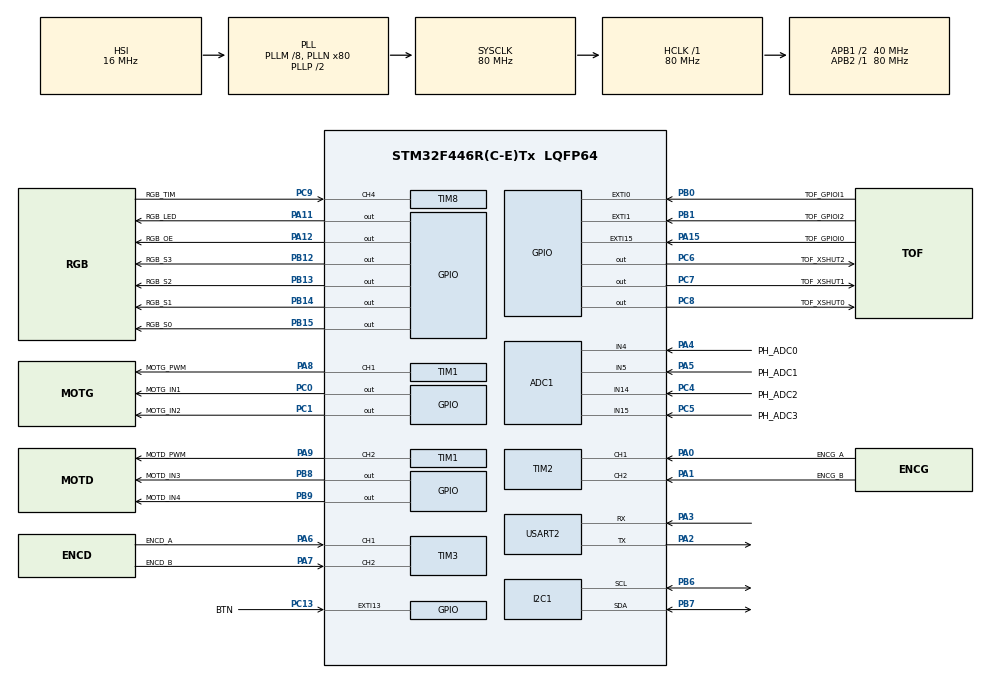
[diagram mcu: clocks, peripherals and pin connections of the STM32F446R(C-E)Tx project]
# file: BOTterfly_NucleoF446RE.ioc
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ADC1.Channel-0\#ChannelRegularConversion=ADC_CHANNEL_4
ADC1.Channel-1\#ChannelRegularConversion=ADC_CHANNEL_5
ADC1.Channel-2\#ChannelRegularConversion=ADC_CHANNEL_14
ADC1.Channel-3\#ChannelRegularConversion=ADC_CHANNEL_15
ADC1.ContinuousConvMode=ENABLE
ADC1.NbrOfConversion=4
ADC1.NbrOfConversionFlag=1
ADC1.Rank-0\#ChannelRegularConversion=1
ADC1.Rank-1\#ChannelRegularConversion=2
ADC1.Rank-2\#ChannelRegularConversion=3
ADC1.Rank-3\#ChannelRegularConversion=4
ADC1.SamplingTime-0\#ChannelRegularConversion=ADC_SAMPLETIME_3CYCLES
ADC1.SamplingTime-1\#ChannelRegularConversion=ADC_SAMPLETIME_3CYCLES
ADC1.SamplingTime-2\#ChannelRegularConversion=ADC_SAMPLETIME_3CYCLES
ADC1.SamplingTime-3\#ChannelRegularConversion=ADC_SAMPLETIME_3CYCLES
ADC1.ScanConvMode=ENABLE
ADC1.master=1
Dma.ADC1.0.Direction=DMA_PERIPH_TO_MEMORY
Dma.ADC1.0.FIFOMode=DMA_FIFOMODE_DISABLE
Dma.ADC1.0.Instance=DMA2_Stream0
Dma.ADC1.0.MemDataAlignment=DMA_MDATAALIGN_WORD
Dma.ADC1.0.MemInc=DMA_MINC_ENABLE
Dma.ADC1.0.Mode=DMA_CIRCULAR
Dma.ADC1.0.PeriphDataAlignment=DMA_PDATAALIGN_WORD
Dma.ADC1.0.PeriphInc=DMA_PINC_DISABLE
Dma.ADC1.0.Priority=DMA_PRIORITY_LOW
Dma.Request0=ADC1
FREERTOS.INCLUDE_uxTaskGetStackHighWaterMark=1
FREERTOS.Tasks01=defaultTask,0,128,StartDefaultTask,Default,NULL,Dynamic,NULL,NULL
FREERTOS.configUSE_NEWLIB_REENTRANT=1
I2C1.I2C_Mode=I2C_Fast
Mcu.Family=STM32F4
Mcu.Name=STM32F446R(C-E)Tx
Mcu.Package=LQFP64
NVIC.DMA2_Stream0_IRQn=true\:5\:0\:false\:false\:true\:true\:false\:true
NVIC.EXTI0_IRQn=true\:5\:0\:false\:false\:true\:true\:true\:true
NVIC.EXTI15_10_IRQn=true\:5\:0\:false\:false\:true\:true\:true\:true
NVIC.EXTI1_IRQn=true\:5\:0\:false\:false\:true\:true\:true\:true
NVIC.PriorityGroup=NVIC_PRIORITYGROUP_4
NVIC.TIM6_DAC_IRQn=true\:15\:0\:false\:false\:true\:false\:false\:true
NVIC.TIM8_CC_IRQn=true\:5\:0\:false\:false\:true\:true\:true\:true
NVIC.TimeBase=TIM6_DAC_IRQn
NVIC.TimeBaseIP=TIM6
NVIC.USART2_IRQn=true\:5\:0\:false\:false\:true\:true\:true\:true
PA0-WKUP.GPIO_Label=ENCG_A
PA0-WKUP.Signal=S_TIM2_CH1_ETR
PA1.GPIO_Label=ENCG_B
PA1.Signal=S_TIM2_CH2
PA11.GPIO_Label=RGB_LED
PA11.Signal=GPIO_Output
PA12.GPIO_Label=RGB_OE
PA12.Signal=GPIO_Output
PA13.Mode=Serial_Wire
PA13.Signal=SYS_JTMS-SWDIO
PA14.Mode=Serial_Wire
PA14.Signal=SYS_JTCK-SWCLK
PA15.GPIO_Label=TOF_GPIOI0
PA15.Signal=GPXTI15
PA2.Mode=Asynchronous
PA2.Signal=USART2_TX
PA3.Mode=Asynchronous
PA3.Signal=USART2_RX
PA4.GPIO_Label=PH_ADC0
PA4.Signal=ADCx_IN4
PA5.GPIO_Label=PH_ADC1
PA5.Signal=ADCx_IN5
PA6.GPIO_Label=ENCD_A
PA6.Signal=S_TIM3_CH1
PA7.GPIO_Label=ENCD_B
PA7.Signal=S_TIM3_CH2
PA8.GPIO_Label=MOTG_PWM
PA8.Signal=S_TIM1_CH1
PA9.GPIO_Label=MOTD_PWM
PA9.Signal=S_TIM1_CH2
PB0.GPIO_Label=TOF_GPIOI1
PB0.Signal=GPXTI0
PB1.GPIO_Label=TOF_GPIOI2
PB1.Signal=GPXTI1
PB12.GPIO_Label=RGB_S3
PB12.Signal=GPIO_Output
PB13.GPIO_Label=RGB_S2
PB13.Signal=GPIO_Output
PB14.GPIO_Label=RGB_S1
PB14.Signal=GPIO_Output
PB15.GPIO_Label=RGB_S0
PB15.Signal=GPIO_Output
PB6.Mode=I2C
PB6.Signal=I2C1_SCL
PB7.Mode=I2C
PB7.Signal=I2C1_SDA
PB8.GPIO_Label=MOTD_IN3
PB8.Signal=GPIO_Output
PB9.GPIO_Label=MOTD_IN4
PB9.Signal=GPIO_Output
PC0.GPIO_Label=MOTG_IN1
PC0.Signal=GPIO_Output
PC1.GPIO_Label=MOTG_IN2
PC1.Signal=GPIO_Output
PC13.GPIO_Label=BTN
PC13.Signal=GPXTI13
PC4.GPIO_Label=PH_ADC2
PC4.Signal=ADCx_IN14
PC5.GPIO_Label=PH_ADC3
PC5.Signal=ADCx_IN15
PC6.GPIO_Label=TOF_XSHUT2
PC6.Signal=GPIO_Output
PC7.GPIO_Label=TOF_XSHUT1
PC7.Signal=GPIO_Output
PC8.GPIO_Label=TOF_XSHUT0
PC8.Signal=GPIO_Output
PC9.GPIO_Label=RGB_TIM
PC9.Signal=S_TIM8_CH4
PH0-OSC_IN.Mode=HSE-External-Oscillator
PH0-OSC_IN.Signal=RCC_OSC_IN
PH1-OSC_OUT.Mode=HSE-External-Oscillator
PH1-OSC_OUT.Signal=RCC_OSC_OUT
ProjectManager.HeapSize=0x200
ProjectManager.StackSize=0x400
ProjectManager.TargetToolchain=STM32CubeIDE
RCC.48MHZClocksFreq_Value=84000000
RCC.AHBFreq_Value=80000000
RCC.APB1CLKDivider=RCC_HCLK_DIV2
RCC.APB1Freq_Value=40000000
RCC.APB1TimFreq_Value=80000000
RCC.APB2Freq_Value=80000000
RCC.APB2TimFreq_Value=80000000
RCC.CortexFreq_Value=80000000
RCC.FLatency-AdvancedSettings=FLASH_LATENCY_2
RCC.HCLKFreq_Value=80000000
RCC.HSE_VALUE=8000000
RCC.HSI_VALUE=16000000
RCC.PLLM=8
RCC.PLLN=80
RCC.SYSCLKFreq_VALUE=80000000
RCC.SYSCLKSource=RCC_SYSCLKSOURCE_PLLCLK
RCC.USBFreq_Value=80000000
RCC.VCOOutputFreq_Value=160000000
SH.ADCx_IN14.0=ADC1_IN14,IN14
SH.ADCx_IN15.0=ADC1_IN15,IN15
SH.ADCx_IN4.0=ADC1_IN4,IN4
SH.ADCx_IN5.0=ADC1_IN5,IN5
SH.S_TIM1_CH1.0=TIM1_CH1,PWM Generation1 CH1
SH.S_TIM1_CH2.0=TIM1_CH2,PWM Generation2 CH2
SH.S_TIM2_CH1_ETR.0=TIM2_CH1,Encoder_Interface
SH.S_TIM2_CH2.0=TIM2_CH2,Encoder_Interface
SH.S_TIM3_CH1.0=TIM3_CH1,Encoder_Interface
SH.S_TIM3_CH2.0=TIM3_CH2,Encoder_Interface
SH.S_TIM8_CH4.0=TIM8_CH4,Input_Capture4_from_TI4
TIM1.Channel-PWM\ Generation1\ CH1=TIM_CHANNEL_1
TIM1.Channel-PWM\ Generation2\ CH2=TIM_CHANNEL_2
TIM1.Period=3360-1
TIM2.EncoderMode=TIM_ENCODERMODE_TI12
TIM3.EncoderMode=TIM_ENCODERMODE_TI12
TIM8.Channel-Input_Capture4_from_TI4=TIM_CHANNEL_4
TIM8.Prescaler=80-1
USART2.VirtualMode=VM_ASYNC
VP_FREERTOS_VS_CMSIS_V1.Mode=CMSIS_V1
VP_SYS_VS_tim6.Mode=TIM6
VP_TIM1_VS_ClockSourceINT.Mode=Internal
board=NUCLEO-F446RE

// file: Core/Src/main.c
/* USER CODE BEGIN Header */
/**
 ******************************************************************************
 * @file           : main.c
 * @brief          : Main program body
 ******************************************************************************
 * @attention
 *
 * <h2><center>&copy; Copyright (c) 2021 STMicroelectronics.
 * All rights reserved.</center></h2>
 *
 * This software component is licensed by ST under BSD 3-Clause license,
 * the "License"; You may not use this file except in compliance with the
 * License. You may obtain a copy of the License at:
 *                        opensource.org/licenses/BSD-3-Clause
 *
 ******************************************************************************
 */
/* USER CODE END Header */
#include "main.h"
#include "cmsis_os.h"
#include "adc.h"
#include "dma.h"
#include "i2c.h"
#include "tim.h"
#include "usart.h"
#include "gpio.h"

/* USER CODE BEGIN Includes */
#include <stdio.h>
#include <math.h>
#include <BOTterfly-H/config.h>
#include <BOTterfly-H/direction.h>

/* USER CODE END Includes */

/* USER CODE BEGIN PD */
#define SYNC_STACK_SIZE 250
#define CMD_STACK_SIZE 500
#define TOF_STACK_SIZE 1000
#define Ph_STACK_SIZE 500
#define RGB_STACK_SIZE 80
/* USER CODE END PD */

/* USER CODE BEGIN PV */

// TO CALCULATE THE STACK SIZE
UBaseType_t uxHighWaterMark_RGB_1;
UBaseType_t uxHighWaterMark_RGB_2;

UBaseType_t uxHighWaterMark_TOF_1;
UBaseType_t uxHighWaterMark_TOF_2;

// TO COUNT THE TIME
double timeDiff = 0;
uint32_t t1 = 0;
uint32_t t2 = 0;

// SEMAPHORE
SemaphoreHandle_t semBinary_CMD;
SemaphoreHandle_t semBinary_TOF;
SemaphoreHandle_t semBinary_Ph;
SemaphoreHandle_t semBinary_RGB;

SemaphoreHandle_t semMutex;
// TO START THE SYSTEM
uint8_t BTN = 0;

/* USER CODE END PV */

void SystemClock_Config(void);
void MX_FREERTOS_Init(void);

/* USER CODE BEGIN 0 */

/*
 * Gère la commande des moteurs en fonction des données des capteurs
 */
void vTaskSync(void* p)
{
	int i =0;

	printf("Wait BTN \r\n");
	while(BTN == 0){
		// Ne rien faire
	}
	printf("Start ! \r\n");

	while(1){

		//printf("TOF=%04d %04d %04d PH=%04ld %04ld %04ld NOISE=%04ld %04ld %04ld NORME=%04lu ANGLE=%03ld RED=%d XY=(%05d;%05d) MOY=%04ld\r\n",TOF_Sensor[0].rangeMillimeter,TOF_Sensor[1].rangeMillimeter,TOF_Sensor[2].rangeMillimeter, Ph_Data[0], Ph_Data[1], Ph_Data[2], Ph_DataNoise[0], Ph_DataNoise[1], Ph_DataNoise[2], Ph_Norma, Ph_Angle, Dir_Red, Dir_X, Dir_Y, Ph_Max_Tr);

		if(i%20 == 0){
			xSemaphoreGive(semBinary_CMD);
		}else if(i%20 == 12){
			xSemaphoreGive(semBinary_TOF);
		}else if(i%20 == 4){
			xSemaphoreGive(semBinary_Ph);
		}else if(i%20 == 8){
			xSemaphoreGive(semBinary_RGB);
		}

		i++;

		vTaskDelay(1);
	}
}

void vTaskControl(void * p)
{
	/* Initialisation Moteur Gauche ---------------------*/
	MOT_InitTimer(&MoteurGauche, &htim1, TIM_CHANNEL_1);
	MOT_InitGPIOs(&MoteurGauche,
			MOTG_IN1_GPIO_Port, MOTG_IN1_Pin,
			MOTG_IN2_GPIO_Port, MOTG_IN2_Pin);
	MOT_SetCoeff(&MoteurGauche, 1.2, 0.1);
	MOT_SetDirection(&MoteurGauche, MOT_FUNCTIONS_FORWARD);
	MOT_SetDutyCycle(&MoteurGauche, 0);

	/* Initialisation Moteur Droite ---------------------*/
	MOT_InitTimer(&MoteurDroite, &htim1, TIM_CHANNEL_2);
	MOT_InitGPIOs(&MoteurDroite,
			MOTD_IN3_GPIO_Port, MOTD_IN3_Pin,
			MOTD_IN4_GPIO_Port, MOTD_IN4_Pin);
	MOT_SetCoeff(&MoteurDroite, 1.2, 0.1);
	MOT_SetDirection(&MoteurDroite, MOT_FUNCTIONS_FORWARD);
	MOT_SetDutyCycle(&MoteurDroite, 0);

	/* Initialisation Encodeur Gauche -------------------*/
	ENC_InitTimer(&CodeurGauche, &htim2, TIM_CHANNEL_1, TIM_CHANNEL_2);
	ENC_SetMillimeterPerTick(&CodeurGauche, 0.08200);

	/* Initialisation Encodeur Droite -------------------*/
	ENC_InitTimer(&CodeurDroite, &htim3, TIM_CHANNEL_1, TIM_CHANNEL_2);
	ENC_SetMillimeterPerTick(&CodeurDroite, 0.08125);

	/* Initialisation Odometrie -------------------------*/
	ODO_Init();

	//CTRL_Pos1_SetTargetX(100);
	//CTRL_Pos1_SetTargetY(100);

	while(1){
		xSemaphoreTake(semBinary_CMD,portMAX_DELAY);

		// Calcul Direction à l'aide des fonctions de direction
		if(BTN){
			CTRL_Pos1_PositionControl();

			// TESTS
			/*
			int16_t ticksG = ENC_GetCnt(&CodeurGauche);
			int16_t ticksD = ENC_GetCnt(&CodeurDroite);
			float vitG = CTRL_SpeedControl(&MoteurGauche, &CodeurGauche, ticksG, 100);
			float vitD = CTRL_SpeedControl(&MoteurDroite, &CodeurDroite, ticksD, 100);
			printf("%d;%d\r\n", (int)ticksG, (int)ticksD);
			*/
		}
	}
}

/*
 * Réalise les mesures de distance
 * Indique les distance à l'aide des variables globales :
 * TOF_Sensor[0].rangeMillimeter
 * TOF_Sensor[1].rangeMillimeter
 * TOF_Sensor[2].rangeMillimeter
 */
void vTaskToF(void * p)
{
	uxHighWaterMark_TOF_1 = uxTaskGetStackHighWaterMark(NULL);

	for(int i=0; i<TOF_nbOfSensor; i++){
		HAL_NVIC_EnableIRQ(TOF_Sensor[i].EXTI_IRQn);
	}

	while(1){
		xSemaphoreTake(semBinary_TOF,portMAX_DELAY);

		//printf("vTaskTOF \r\n");

		// Durée max observée : 2.319950ms
		// Durée min observée : 1.225000us
		//		for(int i=0; i<TOF_nbOfSensor; i++){
		//			if(TOF_Sensor[i].it.flag){
		//				TOF_SetDistance_mm(&TOF_Sensor[i]);
		//				TOF_Sensor[i].it.flag = 0;
		//			}
		//		}
		uxHighWaterMark_TOF_2 = uxTaskGetStackHighWaterMark(NULL);
	}
}

void vTaskPhotodiodes(void * p)
{
	// Réalise les trois mesures
	// Calcule l'emplacement le plus lumineux
	// Remplie une variable avec un angle compris entre -100 et 100 pour orienter le robot :
	// Orientation
	//vTaskDelay(5);
	//Ph_Init();

	while(1){
		xSemaphoreTake(semBinary_Ph,portMAX_DELAY);

		Ph_GetMeasure(Ph_Data);
		//printf("--PH_DataNoise : %04lu, %04lu, %04lu\r\n", Ph_Data[0], Ph_Data[1], Ph_Data[2]);
		Ph_GetBestAngle(Ph_Data);
		Ph_GetNorma(Ph_Data);

		//printf("vTask_Ph \r\n");
		//xSemaphoreGive(semBinary_RGB);
	}
}

/*
 * Réalise les mesures de couleur
 * Indique si le sol est rouge avec la variable globale :
 * RGB_Sensor.isFloorRed
 */
void vTaskCouleur(void * p)
{
	uxHighWaterMark_RGB_1 = uxTaskGetStackHighWaterMark(NULL);
	HAL_TIM_IC_Start_IT(RGB_Sensor.Timer_Handle, RGB_Sensor.Timer_Channel);

	//HAL_GPIO_WritePin(RGB_Sensor.LED_GPIOx, RGB_Sensor.LED_GPIO_Pin, RESET);

	while(1){
		xSemaphoreTake(semBinary_RGB,portMAX_DELAY);

		//printf("vTask_RGB \r\n");

		if(RGB_Sensor.it.flag){
			// Bloc traitement IT : 10.15 us
			RGB_IsTheFloorRed(&RGB_Sensor);
			RGB_Sensor.it.flag = 0;
			//
		}
		uxHighWaterMark_RGB_2 = uxTaskGetStackHighWaterMark(NULL);
	}
}

/* USER CODE END 0 */

int main(void)
{
  /* USER CODE BEGIN 1 */
	TaskHandle_t xHandle = NULL;
  /* USER CODE END 1 */

  /* MCU Configuration--------------------------------------------------------*/

  /* Reset of all peripherals, Initializes the Flash interface and the Systick. */
  HAL_Init();

  /* Configure the system clock */
  SystemClock_Config();

  /* Initialize all configured peripherals */
  MX_GPIO_Init();
  MX_USART2_UART_Init();
  MX_TIM1_Init();
  MX_TIM2_Init();
  MX_DMA_Init();
  MX_ADC1_Init();
  MX_TIM3_Init();
  MX_I2C1_Init();
  MX_TIM8_Init();
  /* USER CODE BEGIN 2 */

	printf("\r\n --------------- BOTterfly --------------- \r\n");

	// INITIALISATION DES CAPTEURS ET DU MOTEUR :
	printf("Initialization \r\n");

	// Bloc TOF_Init : 1735.410150 ms
	TOF_Init_SetI2C(&TOF_Sensor[0], &hi2c1, 0x55);
	TOF_Init_SetGPIOs(&TOF_Sensor[0], TOF_XSHUT0_GPIO_Port, TOF_XSHUT0_Pin, TOF_GPIOI0_GPIO_Port, TOF_GPIOI0_Pin);
	TOF_Init_SetEXTI(&TOF_Sensor[0], TOF_GPIOI0_EXTI_IRQn);

	TOF_Init_SetI2C(&TOF_Sensor[1], &hi2c1, 0x58);
	TOF_Init_SetGPIOs(&TOF_Sensor[1], TOF_XSHUT1_GPIO_Port, TOF_XSHUT1_Pin, TOF_GPIOI1_GPIO_Port, TOF_GPIOI1_Pin);
	TOF_Init_SetEXTI(&TOF_Sensor[1], TOF_GPIOI1_EXTI_IRQn);

	TOF_Init_SetI2C(&TOF_Sensor[2], &hi2c1, 0x5b);
	TOF_Init_SetGPIOs(&TOF_Sensor[2], TOF_XSHUT2_GPIO_Port, TOF_XSHUT2_Pin, TOF_GPIOI2_GPIO_Port, TOF_GPIOI2_Pin);
	TOF_Init_SetEXTI(&TOF_Sensor[2], TOF_GPIOI2_EXTI_IRQn);

	TOF_Init(TOF_Sensor);
	//

	// Bloc RGB_Init : 401.954350 ms
	RGB_Init_SetTimer(&RGB_Sensor, &htim3, TIM_CHANNEL_1);

	RGB_Init_SetParamGPIOs(&RGB_Sensor, RGB_OE_GPIO_Port, RGB_OE_Pin, RGB_LED_GPIO_Port, RGB_LED_Pin);
	RGB_Init_SetOutFreqGPIOs(&RGB_Sensor, RGB_S0_GPIO_Port, RGB_S0_Pin, RGB_S1_GPIO_Port, RGB_S1_Pin);
	RGB_Init_SetColorFilterGPIOs(&RGB_Sensor, RGB_S2_GPIO_Port, RGB_S2_Pin, RGB_S3_GPIO_Port, RGB_S3_Pin);

	RGB_Init(&RGB_Sensor);

	Ph_Init();

	Dir_Init();

	// Init Motor

	// CRÉATION DES SÉMAPHORES :
	printf("Creation Semaphore \r\n");

	semBinary_CMD = xSemaphoreCreateBinary();
	semBinary_TOF = xSemaphoreCreateBinary();
	semBinary_Ph = xSemaphoreCreateBinary();
	semBinary_RGB = xSemaphoreCreateBinary();

	semMutex = xSemaphoreCreateMutex();

	// CRÉATION DES BOÎTES AUX LETTRES :

	// CRÉATION DES TÂCHES :
	printf("Creation Task \r\n");

	if (xTaskCreate(vTaskSync, "Sync", SYNC_STACK_SIZE, (void *)NULL, 100, &xHandle) == errCOULD_NOT_ALLOCATE_REQUIRED_MEMORY)
	{
		printf("Task Sync Creation error : Could not allocate required memory\r\n");
	}
	if (xTaskCreate(vTaskControl, "Control", CMD_STACK_SIZE, (void *)NULL, 80, &xHandle) == errCOULD_NOT_ALLOCATE_REQUIRED_MEMORY)
	{
		printf("Task Control Creation error : Could not allocate required memory\r\n");
	}
	if (xTaskCreate(vTaskToF, "ToF", TOF_STACK_SIZE, (void *)NULL, 60, &xHandle) == errCOULD_NOT_ALLOCATE_REQUIRED_MEMORY)
	{
		printf("Task ToF Creation error : Could not allocate required memory\r\n");
	}
	if (xTaskCreate(vTaskPhotodiodes, "Photodiodes", Ph_STACK_SIZE, (void *)NULL, 40, &xHandle) == errCOULD_NOT_ALLOCATE_REQUIRED_MEMORY)
	{
		printf("Task Photodiode Creation error : Could not allocate required memory\r\n");
	}
	if (xTaskCreate(vTaskCouleur, "Couleur", RGB_STACK_SIZE, (void *)NULL, 20, &xHandle) == errCOULD_NOT_ALLOCATE_REQUIRED_MEMORY)
	{
		printf("Task Couleur Creation error : Could not allocate required memory\r\n");
	}

  /* USER CODE END 2 */

  /* Call init function for freertos objects (in freertos.c) */
  MX_FREERTOS_Init();
  /* Start scheduler */
  osKernelStart();

  /* We should never get here as control is now taken by the scheduler */
  /* Infinite loop */
	while (1)
	{

	}
}

void SystemClock_Config(void)
{
  RCC_OscInitTypeDef RCC_OscInitStruct = {0};
  RCC_ClkInitTypeDef RCC_ClkInitStruct = {0};

  /** Configure the main internal regulator output voltage
  */
  __HAL_RCC_PWR_CLK_ENABLE();
  __HAL_PWR_VOLTAGESCALING_CONFIG(PWR_REGULATOR_VOLTAGE_SCALE3);
  /** Initializes the RCC Oscillators according to the specified parameters
  * in the RCC_OscInitTypeDef structure.
  */
  RCC_OscInitStruct.OscillatorType = RCC_OSCILLATORTYPE_HSI;
  RCC_OscInitStruct.HSIState = RCC_HSI_ON;
  RCC_OscInitStruct.HSICalibrationValue = RCC_HSICALIBRATION_DEFAULT;
  RCC_OscInitStruct.PLL.PLLState = RCC_PLL_ON;
  RCC_OscInitStruct.PLL.PLLSource = RCC_PLLSOURCE_HSI;
  RCC_OscInitStruct.PLL.PLLM = 8;
  RCC_OscInitStruct.PLL.PLLN = 80;
  RCC_OscInitStruct.PLL.PLLP = RCC_PLLP_DIV2;
  RCC_OscInitStruct.PLL.PLLQ = 2;
  RCC_OscInitStruct.PLL.PLLR = 2;
  if (HAL_RCC_OscConfig(&RCC_OscInitStruct) != HAL_OK)
  {
    Error_Handler();
  }
  /** Initializes the CPU, AHB and APB buses clocks
  */
  RCC_ClkInitStruct.ClockType = RCC_CLOCKTYPE_HCLK|RCC_CLOCKTYPE_SYSCLK
                              |RCC_CLOCKTYPE_PCLK1|RCC_CLOCKTYPE_PCLK2;
  RCC_ClkInitStruct.SYSCLKSource = RCC_SYSCLKSOURCE_PLLCLK;
  RCC_ClkInitStruct.AHBCLKDivider = RCC_SYSCLK_DIV1;
  RCC_ClkInitStruct.APB1CLKDivider = RCC_HCLK_DIV2;
  RCC_ClkInitStruct.APB2CLKDivider = RCC_HCLK_DIV1;

  if (HAL_RCC_ClockConfig(&RCC_ClkInitStruct, FLASH_LATENCY_2) != HAL_OK)
  {
    Error_Handler();
  }
}

/* USER CODE BEGIN 4 */
uint16_t icVal01 = 0;

uint8_t countTime = 0;

void HAL_TIM_IC_CaptureCallback(TIM_HandleTypeDef *htim)
{
	// Durée de l'IT : 1.550000us ou 1.325000us
	if(htim->Instance == RGB_Sensor.Timer_Handle->Instance)
	{
		if(RGB_Sensor.it.isFirstCaptured == 0){
			icVal01 = HAL_TIM_ReadCapturedValue(htim, RGB_Sensor.Timer_Channel);
			RGB_Sensor.it.isFirstCaptured = 1;
		}else{
			RGB_Sensor.it.icVal1 = icVal01;
			RGB_Sensor.it.icVal2 = HAL_TIM_ReadCapturedValue(htim, RGB_Sensor.Timer_Channel);
			RGB_Sensor.it.isFirstCaptured = 0;

			__HAL_TIM_SET_COUNTER(htim, 0);

			RGB_Sensor.it.flag = 1;
		}
	}
}

// VL53L0X_RangingMeasurementData_t VL53L0X_RangingMeasurementData;
void HAL_GPIO_EXTI_Callback(uint16_t GPIO_Pin)
{
	// Durée de l'IT : 0.500000us
	if(GPIO_Pin == TOF_Sensor[0].EXTI_GPIO_Pin){
		// IT toutes les 33ms
		TOF_Sensor[0].it.flag = 1;
		TOF_SetDistance_mm(&TOF_Sensor[0]);

	}
	else if(GPIO_Pin == TOF_Sensor[1].EXTI_GPIO_Pin){
		// IT toutes les 33ms
		TOF_Sensor[1].it.flag = 1;
		TOF_SetDistance_mm(&TOF_Sensor[1]);
	}
	else if(GPIO_Pin == TOF_Sensor[2].EXTI_GPIO_Pin){
		// IT toutes les 33ms
		TOF_Sensor[2].it.flag = 1;
		TOF_SetDistance_mm(&TOF_Sensor[2]);
	}

	else if(GPIO_Pin == BTN_Pin){
		BTN = 1;
	}
}

int __io_putchar(int ch)
{
	HAL_UART_Transmit(&huart2, (uint8_t *)&ch, 1, HAL_MAX_DELAY);
	return ch;
}

/* USER CODE END 4 */

void HAL_TIM_PeriodElapsedCallback(TIM_HandleTypeDef *htim)
{
  if (htim->Instance == TIM6) {
    HAL_IncTick();
  }
}

void Error_Handler(void)
{
	__disable_irq();
	while (1)
	{
	}
}

/************************ (C) COPYRIGHT STMicroelectronics *****END OF FILE****/
